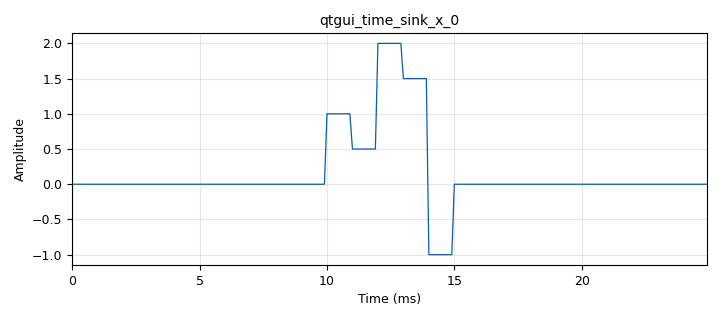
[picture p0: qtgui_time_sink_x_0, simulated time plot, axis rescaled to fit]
options:
  parameters:
    generate_options: qt_gui
    id: convolve
    output_language: python
    title: Not titled yet
  states: {}

blocks:
- name: samp_rate
  id: variable
  parameters:
    value: '10000'
  states: {}
- name: blocks_repeat_0
  id: blocks_repeat
  parameters:
    interp: '10'
    type: float
  states: {}
- name: blocks_throttle_0
  id: blocks_throttle
  parameters:
    samples_per_second: samp_rate
    type: float
  states: {}
- name: blocks_vector_source_x_0
  id: blocks_vector_source_x
  parameters:
    repeat: 'True'
    type: float
    vector: 10*[0]+[1 ,0.5 ,2 ,1.5 ,-1]+10*[0]
  states: {}
- name: qtgui_time_sink_x_0
  id: qtgui_time_sink_x
  parameters:
    size: '250'
    srate: samp_rate
    type: float
  states: {}

connections:
- [blocks_repeat_0, '0', qtgui_time_sink_x_0, '0']
- [blocks_throttle_0, '0', blocks_repeat_0, '0']
- [blocks_vector_source_x_0, '0', blocks_throttle_0, '0']

metadata:
  file_format: 1
